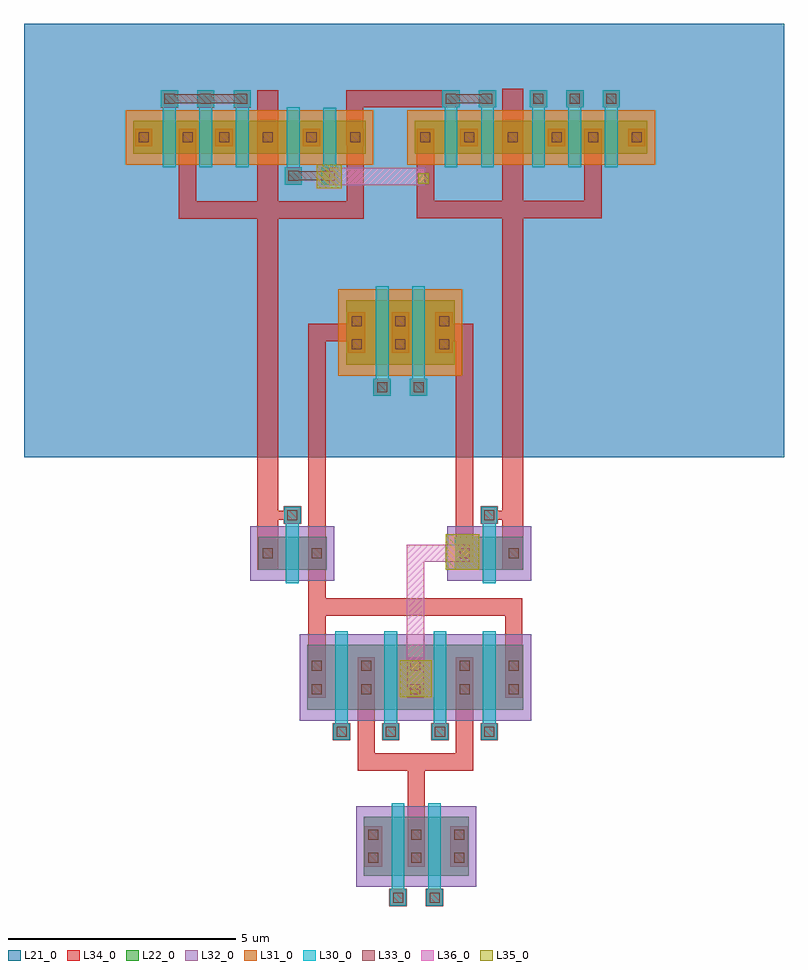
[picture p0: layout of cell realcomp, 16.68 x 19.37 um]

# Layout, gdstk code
from math import pi, radians
import gdstk
lib = gdstk.Library(unit=1e-6, precision=5e-09)
def R(c, l, rs):  # rectangles x0, y0, x1, y1
    for r in rs: c.add(gdstk.rectangle(r[:2], r[2:], *l))
def A(c, l, x, y, w, h, nx, ny, dx, dy):  # array of equal rectangles
    R(c, l, [(x+i*dx, y+j*dy, x+i*dx+w, y+j*dy+h) for i in range(nx) for j in range(ny)])
L21_0 = (21, 0)
L22_0 = (22, 0)
L30_0 = (30, 0)
L31_0 = (31, 0)
L32_0 = (32, 0)
L33_0 = (33, 0)
L34_0 = (34, 0)
L35_0 = (35, 0)
L36_0 = (36, 0)

pfet_6 = lib.new_cell('pfet$6')
R(pfet_6, L21_0, [(-0.9,-0.44,3.16,1.155)])
R(pfet_6, L22_0, [(-0.46,0,0,0.715), (0,0,2.26,0.715), (2.26,0,2.72,0.715)])
A(pfet_6, L30_0, 0.14, 1.015, 0.38, 0.38, 3, 1, 0.8, 0)
R(pfet_6, L30_0, [(0.19,-0.3,0.47,1.015), (0.99,-0.3,1.27,1.01), (1.79,-0.3,2.07,1.015)])
R(pfet_6, L31_0, [(-0.63,-0.24,2.89,0.955)])
A(pfet_6, L33_0, 0.22, 1.095, 0.22, 0.22, 3, 1, 0.8, 0)
R(pfet_6, L33_0, [(-0.34,0.245,-0.12,0.465), (0.62,0.245,0.84,0.465), (1.42,0.245,1.64,0.465), (2.38,0.245,2.6,0.465)])
A(pfet_6, L34_0, 0.14, 1.01, 0.38, 0.385, 3, 1, 0.8, 0)
R(pfet_6, L34_0, [(-0.42,0.165,-0.04,0.55), (0.54,0.165,0.92,0.55), (1.34,0.165,1.72,0.55), (2.3,0.165,2.68,0.55)])

pfet_9 = lib.new_cell('pfet$9')
R(pfet_9, L21_0, [(-0.9,-0.44,2.36,1.865)])
R(pfet_9, L22_0, [(-0.46,0,0,1.425), (0,0,1.46,1.425), (1.46,0,1.92,1.425)])
R(pfet_9, L30_0, [(0.19,-0.3,0.47,1.725), (0.99,-0.3,1.27,1.725), (0.14,1.725,0.52,2.105), (0.94,1.725,1.32,2.105)])
R(pfet_9, L31_0, [(-0.63,-0.24,2.09,1.665)])
A(pfet_9, L33_0, -0.34, 0.35, 0.22, 0.22, 3, 2, 0.96, 0.51)
R(pfet_9, L33_0, [(0.22,1.805,0.44,2.025), (1.02,1.805,1.24,2.025)])
A(pfet_9, L34_0, -0.42, 0.27, 0.38, 0.89, 3, 1, 0.96, 0)
R(pfet_9, L34_0, [(0.14,1.725,0.52,2.105), (0.94,1.725,1.32,2.105)])

pfet = lib.new_cell('pfet')
R(pfet, L21_0, [(-0.9,-0.44,2.36,1.155)])
R(pfet, L22_0, [(-0.46,0,0,0.715), (0,0,1.46,0.715), (1.46,0,1.92,0.715)])
R(pfet, L30_0, [(0.14,-0.68,0.52,-0.3), (0.94,-0.68,1.32,-0.3), (0.19,-0.3,0.47,1.015), (0.99,-0.3,1.27,1.01)])
R(pfet, L31_0, [(-0.63,-0.24,2.09,0.955)])
A(pfet, L33_0, -0.34, 0.245, 0.22, 0.22, 3, 1, 0.96, 0)
R(pfet, L33_0, [(0.22,-0.6,0.44,-0.38), (1.02,-0.6,1.24,-0.38)])
A(pfet, L34_0, -0.42, 0.165, 0.38, 0.385, 3, 1, 0.96, 0)
R(pfet, L34_0, [(0.14,-0.68,0.52,-0.3), (0.94,-0.68,1.32,-0.3)])

pfet_8 = lib.new_cell('pfet$8')
R(pfet_8, L21_0, [(-0.9,-0.44,3.16,1.155)])
R(pfet_8, L22_0, [(-0.46,0,0,0.715), (0,0,2.26,0.715), (2.26,0,2.72,0.715)])
A(pfet_8, L30_0, 0.14, -0.68, 0.38, 0.38, 3, 1, 0.8, 0)
R(pfet_8, L30_0, [(0.19,-0.3,0.47,1.015), (0.99,-0.3,1.27,1.01), (1.79,-0.3,2.07,1.015)])
R(pfet_8, L31_0, [(-0.63,-0.24,2.89,0.955)])
A(pfet_8, L33_0, 0.22, -0.6, 0.22, 0.22, 3, 1, 0.8, 0)
R(pfet_8, L33_0, [(-0.34,0.245,-0.12,0.465), (0.62,0.245,0.84,0.465), (1.42,0.245,1.64,0.465), (2.38,0.245,2.6,0.465)])
A(pfet_8, L34_0, 0.14, -0.68, 0.38, 0.38, 3, 1, 0.8, 0)
R(pfet_8, L34_0, [(-0.42,0.165,-0.04,0.55), (0.54,0.165,0.92,0.55), (1.34,0.165,1.72,0.55), (2.3,0.165,2.68,0.55)])

nfet = lib.new_cell('nfet')
R(nfet, L22_0, [(-0.42,0,0,0.715), (0,0,0.66,0.715), (0.66,0,1.08,0.715)])
R(nfet, L30_0, [(0.15,-0.66,0.51,-0.3), (0.19,-0.3,0.47,1.015)])
R(nfet, L32_0, [(-0.59,-0.24,1.25,0.955)])
R(nfet, L33_0, [(0.22,-0.59,0.44,-0.37), (-0.32,0.245,-0.1,0.465), (0.76,0.245,0.98,0.465)])
R(nfet, L34_0, [(0.14,-0.67,0.52,-0.29), (-0.4,0.165,-0.02,0.55), (0.68,0.165,1.06,0.55)])

nfet_1 = lib.new_cell('nfet$1')
R(nfet_1, L22_0, [(-0.42,0,0,1.425), (0,0,0.66,1.425), (0.66,0,1.08,1.425)])
R(nfet_1, L30_0, [(0.19,-0.3,0.47,1.725), (0.15,1.725,0.51,2.085)])
R(nfet_1, L32_0, [(-0.59,-0.24,1.25,1.665)])
R(nfet_1, L33_0, [(-0.32,0.35,-0.1,0.57), (0.76,0.35,0.98,0.57), (-0.32,0.86,-0.1,1.08), (0.76,0.86,0.98,1.08), (0.22,1.795,0.44,2.015)])
R(nfet_1, L34_0, [(-0.4,0.27,-0.02,1.16), (0.68,0.27,1.06,1.16), (0.14,1.715,0.52,2.095)])

nfet_2 = lib.new_cell('nfet$2')
R(nfet_2, L22_0, [(-0.42,0,0,1.29), (0,0,1.46,1.29), (1.46,0,1.88,1.29)])
R(nfet_2, L30_0, [(0.19,-0.3,0.47,1.59), (0.99,-0.3,1.27,1.59), (0.15,1.59,0.51,1.95), (0.95,1.59,1.31,1.95)])
R(nfet_2, L32_0, [(-0.59,-0.24,2.05,1.53)])
A(nfet_2, L33_0, -0.32, 0.28, 0.22, 0.22, 3, 2, 0.94, 0.51)
R(nfet_2, L33_0, [(0.22,1.66,0.44,1.88), (1.02,1.66,1.24,1.88)])
A(nfet_2, L34_0, -0.4, 0.2, 0.38, 0.89, 3, 1, 0.94, 0)
R(nfet_2, L34_0, [(0.14,1.575,0.52,1.96), (0.94,1.575,1.32,1.96)])

realcomp = lib.new_cell('realcomp')
R(realcomp, L21_0, [(13.15,-5.14,29.83,4.38)])
R(realcomp, L34_0, [(18.27,-7.6,18.73,2.92), (23.65,-7.6,24.11,2.95)])
R(realcomp, L35_0, [(21.4,-10.4,22.1,-9.59), (22.41,-7.6,23.14,-6.83), (19.58,0.77,20.12,1.29), (21.805,0.865,22.035,1.095)])
realcomp.add(gdstk.FlexPath([(23.32,2.735),(22.52,2.735)], 0.2, ends="flush", simple_path=True, layer=33, datatype=0))  # L33_0
realcomp.add(gdstk.FlexPath([(19.06,1.04),(19.86,1.04)], 0.2, ends="flush", simple_path=True, layer=33, datatype=0))  # L33_0
realcomp.add(gdstk.FlexPath([(17.94,2.73),(16.34,2.73)], 0.2, ends="flush", simple_path=True, layer=33, datatype=0))  # L33_0
realcomp.add(gdstk.FlexPath([(21.76,-13.675),(21.76,-11.82)], 0.38, ends="flush", simple_path=True, layer=34, datatype=0))  # L34_0
realcomp.add(gdstk.FlexPath([(20.41,2.92),(20.42,0.29),(16.74,0.29),(16.74,1.885)], 0.38, ends="flush", simple_path=True, layer=34, datatype=0))  # L34_0
realcomp.add(gdstk.FlexPath([(21.96,1.89),(21.96,0.3),(25.64,0.3),(25.64,1.89)], 0.38, ends="flush", simple_path=True, layer=34, datatype=0))  # L34_0
realcomp.add(gdstk.FlexPath([(23.9,-10.225),(23.9,-8.42),(19.55,-8.42)], 0.38, ends="flush", simple_path=True, layer=34, datatype=0))  # L34_0
realcomp.add(gdstk.FlexPath([(20.66,-9.715),(20.66,-11.82),(22.82,-11.82),(22.82,-9.715)], 0.38, ends="flush", simple_path=True, layer=34, datatype=0))  # L34_0
realcomp.add(gdstk.FlexPath([(22.52,2.735),(20.41,2.735)], 0.38, ends="flush", simple_path=True, layer=34, datatype=0))  # L34_0
realcomp.add(gdstk.FlexPath([(19.04,-6.405),(18.49,-6.405)], 0.2, ends="flush", simple_path=True, layer=34, datatype=0))  # L34_0
realcomp.add(gdstk.FlexPath([(23.36,-6.405),(23.9,-6.405)], 0.2, ends="flush", simple_path=True, layer=34, datatype=0))  # L34_0
realcomp.add(gdstk.FlexPath([(19.58,-10.415),(19.58,-7.13)], 0.38, ends="flush", simple_path=True, layer=34, datatype=0))  # L34_0
realcomp.add(gdstk.FlexPath([(19.58,-7.24),(19.58,-2.395),(20.45,-2.395)], 0.38, ends="flush", simple_path=True, layer=34, datatype=0))  # L34_0
realcomp.add(gdstk.FlexPath([(22.82,-7.24),(22.82,-2.4),(22.37,-2.4)], 0.38, ends="flush", simple_path=True, layer=34, datatype=0))  # L34_0
realcomp.add(gdstk.FlexPath([(21.74,-10.225),(21.74,-7.24),(22.93,-7.24)], 0.38, ends="flush", simple_path=True, layer=36, datatype=0))  # L36_0
realcomp.add(gdstk.FlexPath([(19.85,1.03),(21.96,1.03)], 0.38, ends="flush", simple_path=True, layer=36, datatype=0))  # L36_0
realcomp.add(gdstk.Reference(pfet_6, (16.01,1.53)))
realcomp.add(gdstk.Reference(pfet_9, (22.14,-1.685), rotation=pi))
realcomp.add(gdstk.Reference(pfet, (23.65,2.245), rotation=pi))
realcomp.add(gdstk.Reference(pfet, (18.73,1.53)))
realcomp.add(gdstk.Reference(pfet_8, (26.37,2.245), rotation=pi))
realcomp.add(gdstk.Reference(nfet, (19.37,-6.885), rotation=pi))
realcomp.add(gdstk.Reference(nfet_1, (21.53,-9.255), rotation=pi))
realcomp.add(gdstk.Reference(nfet, (23.69,-6.885), rotation=pi))
realcomp.add(gdstk.Reference(nfet_1, (20.45,-9.255), rotation=pi))
realcomp.add(gdstk.Reference(nfet_1, (23.69,-9.255), rotation=pi))
realcomp.add(gdstk.Reference(nfet_1, (22.61,-9.255), rotation=pi))
realcomp.add(gdstk.Reference(nfet_2, (22.49,-13.03), rotation=pi))

lib.write_gds('realcomp.gds')
